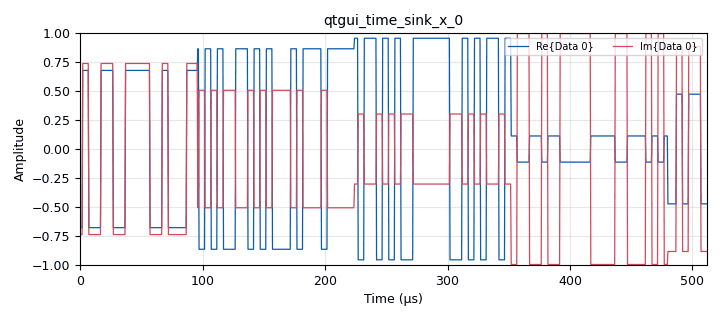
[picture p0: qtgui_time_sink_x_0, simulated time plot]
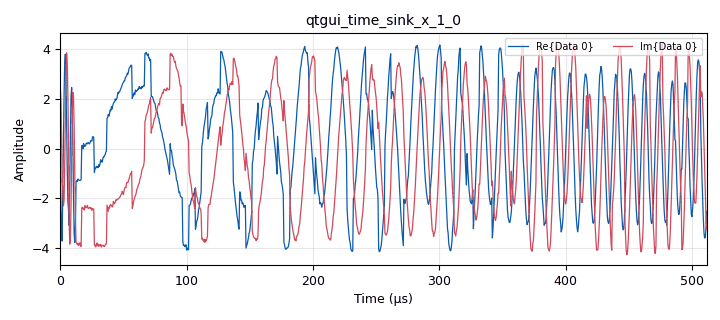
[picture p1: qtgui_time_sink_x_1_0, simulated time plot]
options:
  parameters:
    generate_options: qt_gui
    id: realfattest
    output_language: python
    title: Not titled yet
  states: {}

blocks:
- name: awgn_enable
  id: variable_qtgui_check_box
  parameters:
    'false': 'False'
    'true': 'True'
    type: int
    value: 'True'
  states: {}
- name: f0_khz
  id: variable_qtgui_range
  parameters:
    start: '-500'
    step: '1'
    stop: '500'
    value: '0'
  states: {}
- name: jammer_enable
  id: variable_qtgui_check_box
  parameters:
    'false': 'False'
    'true': 'True'
    type: int
    value: 'True'
  states: {}
- name: jsr_db
  id: variable_qtgui_range
  parameters:
    start: '-10'
    step: '1'
    stop: '30'
    value: '10'
  states: {}
- name: phase_offset
  id: variable
  parameters:
    value: 2*3.14159*random.random()
  states: {}
- name: samp_rate
  id: variable
  parameters:
    value: 2e6
  states: {}
- name: snr_db
  id: variable_qtgui_range
  parameters:
    start: '0'
    step: '1'
    stop: '50'
    value: '20'
  states: {}
- name: sps
  id: variable
  parameters:
    value: int(samp_rate/symrate)
  states: {}
- name: sweep_bw_khz
  id: variable_qtgui_range
  parameters:
    start: '100'
    step: '1'
    stop: '800'
    value: '400'
  states: {}
- name: sweep_time_ms
  id: variable_qtgui_range
  parameters:
    start: '0.1'
    step: '0.1'
    stop: '5'
    value: '1'
  states: {}
- name: symrate
  id: variable
  parameters:
    value: 200e3
  states: {}
- name: analog_agc_xx_0
  id: analog_agc_xx
  parameters:
    gain: '1.0'
    max_gain: '4000'
    rate: '1e-4'
    reference: '1.0'
    type: complex
  states: {}
- name: analog_noise_source_x_0
  id: analog_noise_source_x
  parameters:
    amp: math.sqrt((10**(-snr_db/10.0))/2) if awgn_enable else 0
    noise_type: analog.GR_GAUSSIAN
    seed: '0'
    type: complex
  states: {}
- name: analog_random_uniform_source_x_0
  id: analog_random_uniform_source_x
  parameters:
    maximum: '2'
    minimum: '0'
    seed: '1337'
    type: byte
  states: {}
- name: analog_sig_source_x_0
  id: analog_sig_source_x
  parameters:
    amp: '1'
    freq: 1/(sweep_time_ms*1e-3)
    offset: '0'
    phase: '0'
    samp_rate: samp_rate
    type: float
    waveform: analog.GR_SAW_WAVE
  states: {}
- name: blocks_add_const_vxx_0
  id: blocks_add_const_vxx
  parameters:
    const: '-1'
    type: float
  states: {}
- name: blocks_add_const_vxx_0_0
  id: blocks_add_const_vxx
  parameters:
    const: f0_khz*1e3
    type: float
  states: {}
- name: blocks_add_xx_0
  id: blocks_add_xx
  parameters:
    type: complex
  states: {}
- name: blocks_add_xx_1
  id: blocks_add_xx
  parameters:
    type: complex
  states: {}
- name: blocks_float_to_complex_0
  id: blocks_float_to_complex
  parameters: {}
  states: {}
- name: blocks_multiply_const_vxx_0
  id: blocks_multiply_const_vxx
  parameters:
    const: '2'
    type: float
  states: {}
- name: blocks_multiply_const_vxx_0_0
  id: blocks_multiply_const_vxx
  parameters:
    const: (sweep_bw_khz*1e3)/2
    type: float
  states: {}
- name: blocks_multiply_const_vxx_0_1
  id: blocks_multiply_const_vxx
  parameters:
    const: math.sqrt(10**(jsr_db/10.0)) if jammer_enable else 0
    type: complex
  states: {}
- name: blocks_repeat_0
  id: blocks_repeat
  parameters:
    interp: sps
    type: complex
  states: {}
- name: blocks_throttle2_0
  id: blocks_throttle2
  parameters:
    samples_per_second: samp_rate
    type: complex
  states: {}
- name: blocks_uchar_to_float_0
  id: blocks_uchar_to_float
  parameters: {}
  states: {}
- name: blocks_vco_c_0
  id: blocks_vco_c
  parameters:
    amplitude: '1'
    samp_rate: samp_rate
    sensitivity: 2*3.14159
  states: {}
- name: epy_block_0
  id: epy_block
  parameters:
    _source_code: |
      """
      Embedded Python Block for GNU Radio - Dilated ResNet BPSK Denoiser
      Paste this into an Embedded Python Block in GNU Radio Companion

      Parameters to add in the block:
        - model_path (string): Path to your .pth file
        - base_channels (int): 32 (must match training)
        - num_blocks (int): 6 (must match training)
      """
      import sys
      sys.path.insert(0, '/home/john/Desktop/.venv/lib/python3.12/site-packages')
      sys.path.insert(0, '/usr/lib/python3/dist-packages/gnuradio/__init__.py')

      import numpy as np
      from gnuradio import gr
      import torch
      import torch.nn as nn
      import torch.nn.functional as F


      # ========================================
      # Model Architecture (from your training)
      # ========================================
      class DilatedResBlock(nn.Module):
          """Residual block with dilated convolution."""
          
          def __init__(self, channels, kernel_size=5, dilation=1, dropout=0.1):
              super().__init__()
              padding = (kernel_size - 1) * dilation // 2
              
              self.conv1 = nn.Conv1d(channels, channels, kernel_size=kernel_size, 
                                     dilation=dilation, padding=padding)
              self.bn1 = nn.BatchNorm1d(channels)
              self.conv2 = nn.Conv1d(channels, channels, kernel_size=kernel_size,
                                     dilation=dilation, padding=padding)
              self.bn2 = nn.BatchNorm1d(channels)
              self.dropout = nn.Dropout(dropout)
              self.alpha = nn.Parameter(torch.ones(1))
              
          def forward(self, x):
              residual = x
              out = F.relu(self.bn1(self.conv1(x)))
              out = self.dropout(out)
              out = self.bn2(self.conv2(out))
              out = F.relu(out + self.alpha * residual)
              return out


      class ChannelAttention(nn.Module):
          """Lightweight channel attention mechanism."""
          
          def __init__(self, channels, reduction=8):
              super().__init__()
              self.avg_pool = nn.AdaptiveAvgPool1d(1)
              self.max_pool = nn.AdaptiveMaxPool1d(1)
              self.fc = nn.Sequential(
                  nn.Linear(channels, channels // reduction, bias=False),
                  nn.ReLU(),
                  nn.Linear(channels // reduction, channels, bias=False),
              )
              
          def forward(self, x):
              b, c, _ = x.size()
              avg_out = self.fc(self.avg_pool(x).view(b, c))
              max_out = self.fc(self.max_pool(x).view(b, c))
              attention = torch.sigmoid(avg_out + max_out).view(b, c, 1)
              return x * attention


      class DilatedResNet(nn.Module):
          """Dilated ResNet for signal denoising."""
          
          def __init__(self, input_size=512, base_channels=32, num_blocks=6, dropout=0.1):
              super().__init__()
              
              self.input_conv = nn.Sequential(
                  nn.Conv1d(1, base_channels, kernel_size=7, padding=3),
                  nn.BatchNorm1d(base_channels),
                  nn.ReLU()
              )
              
              dilations = [1, 2, 4, 8, 16, 16]
              self.res_blocks = nn.ModuleList()
              for i, dilation in enumerate(dilations[:num_blocks]):
                  self.res_blocks.append(
                      DilatedResBlock(base_channels, kernel_size=5, dilation=dilation, dropout=dropout)
                  )
              
              if num_blocks > 6:
                  reverse_dilations = [8, 4, 2, 1]
                  for dilation in reverse_dilations[:num_blocks-6]:
                      self.res_blocks.append(
                          DilatedResBlock(base_channels, kernel_size=5, dilation=dilation, dropout=dropout)
                      )
              
              self.attention = ChannelAttention(base_channels, reduction=4)
              
              self.refinement = nn.Sequential(
                  nn.Conv1d(base_channels, base_channels, kernel_size=5, padding=2),
                  nn.BatchNorm1d(base_channels),
                  nn.ReLU(),
                  nn.Dropout(dropout)
              )
              
              self.output_conv = nn.Conv1d(base_channels, 1, kernel_size=7, padding=3)
              self.residual_weight = nn.Parameter(torch.tensor(0.1))
              
          def forward(self, x):
              identity = x.clone()
              x = x.unsqueeze(1)
              
              x = self.input_conv(x)
              skip = x.clone()
              
              for res_block in self.res_blocks:
                  x = res_block(x)
              
              x = self.attention(x)
              x = x + skip
              x = self.refinement(x)
              
              noise_estimate = self.output_conv(x).squeeze(1)
              clean_estimate = identity - self.residual_weight * noise_estimate
              
              return clean_estimate, noise_estimate


      # ========================================
      # GNU Radio Block Implementation
      # ========================================
      class blk(gr.sync_block):
          """
          Dilated ResNet BPSK Signal Denoiser - Non-blocking version
          """
          
          def __init__(self, model_path='/home/john/es7_project/code/resnet/bpsk_dilated_resnet_model.pth', base_channels=32, num_blocks=6):
              gr.sync_block.__init__(
                  self,
                  name='ML Jammer Suppressor',
                  in_sig=[np.complex64],
                  out_sig=[np.complex64]
              )
              
              self.block_len = 256
              self.device = torch.device('cuda' if torch.cuda.is_available() else 'cpu')
              
              print(f"[ML Block] Using device: {self.device}")
              print(f"[ML Block] Loading model from: {model_path}")
              
              try:
                  self.model = DilatedResNet(
                      input_size=512,
                      base_channels=base_channels,
                      num_blocks=num_blocks,
                      dropout=0.1
                  ).to(self.device)
                  
                  checkpoint = torch.load(model_path, map_location=self.device)
                  self.model.load_state_dict(checkpoint['model_state_dict'])
                  self.model.eval()
                  print(f"[ML Block] Model loaded successfully!")
                  self.model_loaded = True
              except Exception as e:
                  print(f"[ML Block] ERROR loading model: {e}")
                  print(f"[ML Block] Running in PASSTHROUGH mode")
                  self.model_loaded = False
              
              self.buffer = np.array([], dtype=np.complex64)
              self.output_buffer = np.array([], dtype=np.complex64)
              self.blocks_processed = 0
              
          def work(self, input_items, output_items):
              in0 = input_items[0]
              out = output_items[0]
              n_samples = len(in0)
              
              # If model not loaded, just passthrough
              if not self.model_loaded:
                  out[:n_samples] = in0[:n_samples]
                  return n_samples
              
              # Add to buffer
              self.buffer = np.concatenate([self.buffer, in0])
              
              # Process blocks when we have enough samples
              while len(self.buffer) >= self.block_len:
                  block = self.buffer[:self.block_len]
                  
                  try:
                      # Convert to model format
                      x_interleaved = np.stack([block.real, block.imag], axis=-1).reshape(-1).astype(np.float32)
                      
                      # Run model
                      with torch.no_grad():
                          x_tensor = torch.from_numpy(x_interleaved).unsqueeze(0).to(self.device)
                          clean_pred, _ = self.model(x_tensor)
                          y_np = clean_pred.cpu().numpy().squeeze()
                      
                      # Convert back to complex
                      y_complex = y_np[::2] + 1j * y_np[1::2]
                      
                      # Handle size mismatch
                      if len(y_complex) < self.block_len:
                          y_complex = np.pad(y_complex, (0, self.block_len - len(y_complex)), mode='edge')
                      elif len(y_complex) > self.block_len:
                          y_complex = y_complex[:self.block_len]
                      
                      # Add to output buffer
                      self.output_buffer = np.concatenate([self.output_buffer, y_complex])
                      self.blocks_processed += 1
                      
                  except Exception as e:
                      if self.blocks_processed == 0:
                          print(f"[ML Block] Processing error: {e}")
                      # On error, just pass through the block
                      self.output_buffer = np.concatenate([self.output_buffer, block])
                  
                  # Remove processed block from input buffer
                  self.buffer = self.buffer[self.block_len:]
              
              # Output as many samples as we have available
              n_output = min(len(self.output_buffer), n_samples)
              
              if n_output > 0:
                  out[:n_output] = self.output_buffer[:n_output]
                  self.output_buffer = self.output_buffer[n_output:]
              else:
                  # No output ready yet, passthrough input
                  out[:n_samples] = in0[:n_samples]
                  n_output = n_samples
              
              if self.blocks_processed % 10 == 0 and self.blocks_processed > 0:
                  print(f"[ML Block] Processed {self.blocks_processed} blocks")
              
              return n_output
    base_channels: '32'
    model_path: '''/home/john/es7_project/code/resnet/bpsk_dilated_resnet_model.pth'''
    num_blocks: '6'
  states: {}
- name: epy_block_1
  id: epy_block
  parameters:
    _source_code: |
      import sys
      sys.path.insert(0, '/home/john/Desktop/.venv/lib/python3.12/site-packages')
      sys.path.insert(0, '/usr/lib/python3/dist-packages/gnuradio/__init__.py')

      import numpy as np
      from gnuradio import gr
      import random

      class blk(gr.sync_block):
          def __init__(self):
              gr.sync_block.__init__(
                  self,
                  name='Random Phase Rotation',
                  in_sig=[np.complex64],
                  out_sig=[np.complex64]
              )
              self.block_size = 256
              self.current_phase = 2 * np.pi * random.random()
              self.sample_count = 0
              
          def work(self, input_items, output_items):
              in0 = input_items[0]
              out = output_items[0]
              
              idx = 0
              while idx < len(in0):
                  # How many samples left in current block?
                  samples_in_block = self.block_size - (self.sample_count % self.block_size)
                  samples_to_process = min(samples_in_block, len(in0) - idx)
                  
                  # Apply current phase to these samples
                  out[idx:idx+samples_to_process] = in0[idx:idx+samples_to_process] * np.exp(1j * self.current_phase)
                  
                  idx += samples_to_process
                  self.sample_count += samples_to_process
                  
                  # If we completed a block, get new random phase
                  if self.sample_count % self.block_size == 0:
                      self.current_phase = 2 * np.pi * random.random()
              
              return len(in0)
  states: {}
- name: import_0
  id: import
  parameters:
    imports: import math
  states: {}
- name: import_1
  id: import
  parameters:
    imports: import random
  states: {}
- name: qtgui_time_sink_x_0
  id: qtgui_time_sink_x
  parameters:
    size: '1024'
    srate: samp_rate
    type: complex
  states: {}
- name: qtgui_time_sink_x_1
  id: qtgui_time_sink_x
  parameters:
    autoscale: 'True'
    name: '"dinmorerikkejammed"'
    size: '1024'
    srate: samp_rate
    type: complex
  states: {}
- name: qtgui_time_sink_x_1_0
  id: qtgui_time_sink_x
  parameters:
    autoscale: 'True'
    size: '1024'
    srate: samp_rate
    type: complex
  states: {}

connections:
- [analog_agc_xx_0, '0', blocks_add_xx_0, '0']
- [analog_noise_source_x_0, '0', blocks_add_xx_1, '1']
- [analog_random_uniform_source_x_0, '0', blocks_uchar_to_float_0, '0']
- [analog_sig_source_x_0, '0', blocks_multiply_const_vxx_0_0, '0']
- [blocks_add_const_vxx_0, '0', blocks_float_to_complex_0, '0']
- [blocks_add_const_vxx_0_0, '0', blocks_vco_c_0, '0']
- [blocks_add_xx_0, '0', blocks_add_xx_1, '0']
- [blocks_add_xx_1, '0', epy_block_0, '0']
- [blocks_add_xx_1, '0', qtgui_time_sink_x_1_0, '0']
- [blocks_float_to_complex_0, '0', blocks_repeat_0, '0']
- [blocks_multiply_const_vxx_0, '0', blocks_add_const_vxx_0, '0']
- [blocks_multiply_const_vxx_0_0, '0', blocks_add_const_vxx_0_0, '0']
- [blocks_multiply_const_vxx_0_1, '0', blocks_add_xx_0, '1']
- [blocks_repeat_0, '0', epy_block_1, '0']
- [blocks_throttle2_0, '0', analog_agc_xx_0, '0']
- [blocks_throttle2_0, '0', qtgui_time_sink_x_0, '0']
- [blocks_uchar_to_float_0, '0', blocks_multiply_const_vxx_0, '0']
- [blocks_vco_c_0, '0', blocks_multiply_const_vxx_0_1, '0']
- [epy_block_0, '0', qtgui_time_sink_x_1, '0']
- [epy_block_1, '0', blocks_throttle2_0, '0']

metadata:
  file_format: 1
  grc_version: 3.10.9.2
